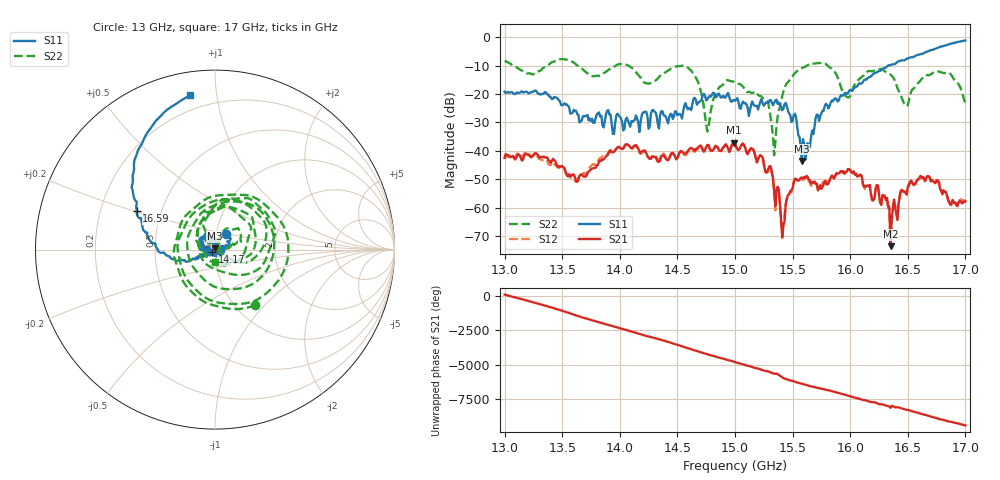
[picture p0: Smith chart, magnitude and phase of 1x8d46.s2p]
!Keysight Technologies,P9374A,MY57211807,A.19.30.04
!Date: Friday, May 08, 2026 15:20:40
!Correction: S11(C  2-Port  )
!S21(C  2-Port  )
!S12(C  2-Port  )
!S22(C  2-Port  )
!S2P File: Measurements: S11, S21, S12, S22:
# Hz S  dB  R 50
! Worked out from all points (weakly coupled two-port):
!   401 points, 13 GHz to 17 GHz, reference 50 ohm
!   highest |S21| = -37.13 dB at 14.99 GHz (marker M1); lowest = -73.5 dB at 16.35 GHz (marker M2)
!   lowest |S11| = -43.6 dB at 15.58 GHz (marker M3), VSWR 1.01, Z = 49.9 + j0.662 ohm
!   |S11| at or under -10 dB: start of sweep to 16.33 GHz
!   |S22| runs from -41.6 to -7.8 dB; largest |S21 - S12| = 0.0015
!   S11 on the Smith chart (normalised r, x): 13 GHz: 1.11, +0.20; 14.17 GHz: 0.97, -0.03; 16.59 GHz: 0.36, +0.21; 17 GHz: 0.12, +0.85
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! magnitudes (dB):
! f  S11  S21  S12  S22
! 13 GHz  -19.2  -42.4  -42.9  -8.3
! 13.67 GHz  -29.3  -48.4  -48.3  -11.1
! 14.17 GHz  -33.4  -40.1  -40.5  -13.7
! 14.34 GHz  -32.1  -43.8  -43.0  -14.1
! 14.61 GHz  -25.0  -39.1  -39.5  -11.4
! 14.76 GHz  -21.8  -37.9  -38.0  -33.2
! 14.85 GHz  -20.2  -38.7  -38.7  -18.5
! 14.99 GHz  -22.2  -37.1  -37.0  -15.7
! 15 GHz  -22.4  -37.6  -37.5  -16.0
! 15.27 GHz  -23.0  -47.4  -47.7  -22.1
! 15.34 GHz  -23.2  -54.0  -54.9  -41.6
! 15.42 GHz  -25.1  -66.2  -65.2  -19.2
! 15.47 GHz  -26.9  -55.2  -55.3  -15.4
! 15.58 GHz  -43.6  -49.4  -49.7  -10.9
! 15.67 GHz  -32.8  -51.0  -51.3  -9.3
! 16 GHz  -18.6  -46.7  -46.9  -20.7
! 16.34 GHz  -10.0  -59.6  -60.9  -12.9
! 16.35 GHz  -9.8  -73.5  -72.5  -13.2
! 16.48 GHz  -7.9  -54.6  -54.5  -23.8
! 16.59 GHz  -6.2  -49.9  -50.2  -16.1
! 16.85 GHz  -2.6  -57.1  -57.3  -12.5
! 17 GHz  -1.2  -57.6  -57.2  -23.3
